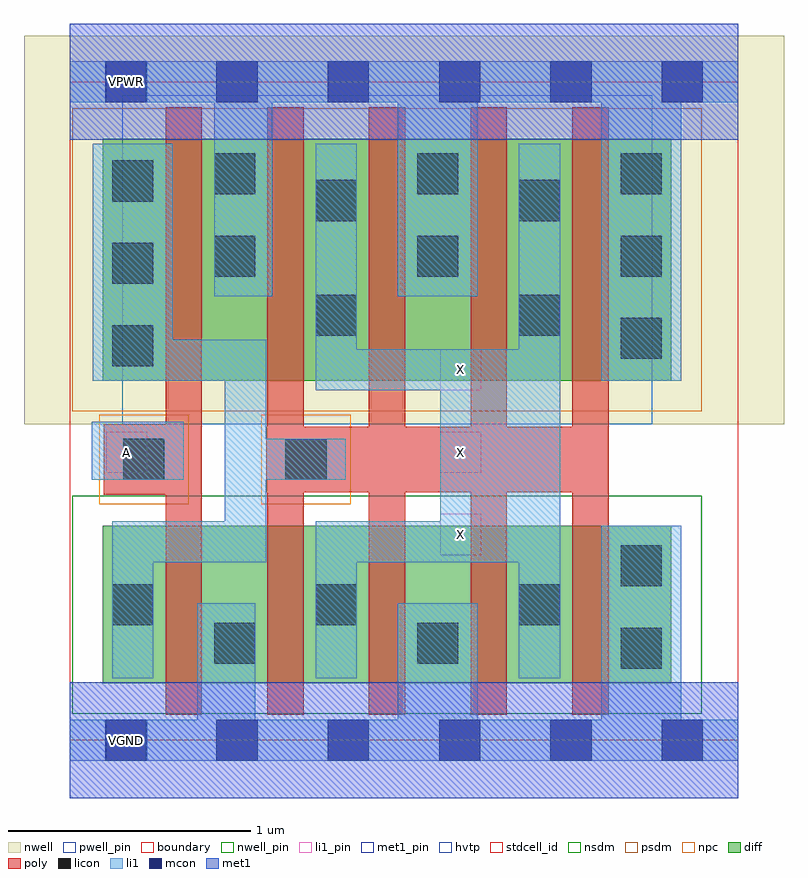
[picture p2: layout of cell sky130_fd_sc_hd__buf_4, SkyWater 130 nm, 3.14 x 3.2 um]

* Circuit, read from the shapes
.subckt sky130_fd_sc_hd__buf_4 A VGND VNB VPB VPWR X
XM1 VGND A n1 VNB sky130_fd_pr__nfet_01v8 w=0.65 l=0.15
XM2 X n1 VGND VNB sky130_fd_pr__nfet_01v8 w=0.65 l=0.15 m=4
XM3 VPWR A n1 VPB sky130_fd_pr__pfet_01v8_hvt w=1 l=0.15
XM4 X n1 VPWR VPB sky130_fd_pr__pfet_01v8_hvt w=1 l=0.15 m=4
.ends

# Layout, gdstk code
import gdstk
lib = gdstk.Library(unit=1e-6, precision=1e-09)
def R(c, l, rs):  # rectangles x0, y0, x1, y1
    for r in rs: c.add(gdstk.rectangle(r[:2], r[2:], *l))
def A(c, l, x, y, w, h, nx, ny, dx, dy):  # array of equal rectangles
    R(c, l, [(x+i*dx, y+j*dy, x+i*dx+w, y+j*dy+h) for i in range(nx) for j in range(ny)])
nwell_pin = (64, 16)
nwell = (64, 20)
diff = (65, 20)
poly = (66, 20)
licon = (66, 44)
li1_pin = (67, 16)
li1 = (67, 20)
mcon = (67, 44)
met1_pin = (68, 16)
met1 = (68, 20)
hvtp = (78, 44)
stdcell_id = (81, 4)
nsdm = (93, 44)
psdm = (94, 20)
npc = (95, 20)
pwell_pin = (122, 16)
boundary = (235, 4)

sky130_fd_sc_hd__buf_4 = lib.new_cell('sky130_fd_sc_hd__buf_4')
R(sky130_fd_sc_hd__buf_4, nwell_pin, [(0.15,2.635,0.32,2.805)])
R(sky130_fd_sc_hd__buf_4, nwell, [(-0.19,1.305,2.95,2.91)])
R(sky130_fd_sc_hd__buf_4, diff, [(0.135,0.235,2.485,0.885), (0.135,1.485,2.485,2.485)])
A(sky130_fd_sc_hd__buf_4, poly, 0.815, 0.105, 0.15, 0.92, 4, 1, 0.42, 0)
A(sky130_fd_sc_hd__buf_4, poly, 0.815, 1.295, 0.15, 1.32, 4, 1, 0.42, 0)
R(sky130_fd_sc_hd__buf_4, poly, [(0.395,0.105,0.545,1.015), (0.14,1.015,0.545,1.305), (0.81,1.025,2.225,1.295), (0.395,1.305,0.545,2.615)])
A(sky130_fd_sc_hd__buf_4, licon, 0.175, 0.475, 0.17, 0.17, 3, 1, 0.84, 0)
A(sky130_fd_sc_hd__buf_4, licon, 0.175, 1.545, 0.17, 0.17, 1, 3, 0, 0.34)
A(sky130_fd_sc_hd__buf_4, licon, 0.595, 1.915, 0.17, 0.17, 3, 2, 0.84, 0.34)
R(sky130_fd_sc_hd__buf_4, licon, [(2.275,0.295,2.445,0.465), (0.595,0.315,0.765,0.485), (1.435,0.315,1.605,0.485), (2.275,0.635,2.445,0.805), (0.22,1.075,0.39,1.245), (0.89,1.075,1.06,1.245), (2.275,1.575,2.445,1.745), (1.015,1.67,1.185,1.84), (1.855,1.67,2.025,1.84), (1.015,2.145,1.185,2.315), (1.855,2.145,2.025,2.315)])
A(sky130_fd_sc_hd__buf_4, li1_pin, 1.53, 0.765, 0.17, 0.17, 1, 3, 0, 0.34)
R(sky130_fd_sc_hd__buf_4, li1_pin, [(0.15,-0.085,0.32,0.085), (0.15,1.105,0.32,1.275), (0.15,2.635,0.32,2.805)])
A(sky130_fd_sc_hd__buf_4, li1, 0.175, 0.255, 0.17, 0.48, 3, 1, 0.84, 0)
R(sky130_fd_sc_hd__buf_4, li1, [(0,-0.085,2.76,0.085), (0.525,0.085,0.765,0.565), (1.355,0.085,1.685,0.565), (2.195,0.085,2.525,0.885), (0.175,0.735,0.81,0.905), (1.015,0.735,2.025,0.905), (0.64,0.905,0.81,1.075), (1.53,0.905,2.025,1.445), (0.09,1.075,0.47,1.315), (0.64,1.075,1.14,1.245), (0.64,1.245,0.81,1.485), (1.015,1.445,2.025,1.615), (0.095,1.485,0.81,1.655), (2.195,1.485,2.525,2.635), (1.015,1.615,1.185,2.465), (1.855,1.615,2.025,2.465), (0.095,1.655,0.425,2.465), (0.595,1.835,0.835,2.635), (1.355,1.835,1.685,2.635), (0,2.635,2.76,2.805)])
A(sky130_fd_sc_hd__buf_4, mcon, 0.145, -0.085, 0.17, 0.17, 6, 2, 0.46, 2.72)
R(sky130_fd_sc_hd__buf_4, met1_pin, [(0.15,-0.085,0.32,0.085), (0.15,2.635,0.32,2.805)])
R(sky130_fd_sc_hd__buf_4, met1, [(0,-0.24,2.76,0.24), (0,2.48,2.76,2.96)])
R(sky130_fd_sc_hd__buf_4, hvtp, [(0.215,1.305,2.405,2.665)])
R(sky130_fd_sc_hd__buf_4, stdcell_id, [(0,0,2.76,2.72)])
R(sky130_fd_sc_hd__buf_4, nsdm, [(0.01,0.11,2.61,1.01)])
R(sky130_fd_sc_hd__buf_4, psdm, [(0.01,1.36,2.61,2.61)])
R(sky130_fd_sc_hd__buf_4, npc, [(0.12,0.975,0.49,1.345), (0.79,0.975,1.16,1.345)])
R(sky130_fd_sc_hd__buf_4, pwell_pin, [(0.15,-0.085,0.32,0.085)])
R(sky130_fd_sc_hd__buf_4, boundary, [(0,0,2.76,2.72)])
sky130_fd_sc_hd__buf_4.add(gdstk.Label('VPWR', (0.235,2.72), layer=67, texttype=5))
sky130_fd_sc_hd__buf_4.add(gdstk.Label('VPWR', (0.235,2.72), layer=68, texttype=5))
sky130_fd_sc_hd__buf_4.add(gdstk.Label('VGND', (0.235,0), layer=67, texttype=5))
sky130_fd_sc_hd__buf_4.add(gdstk.Label('VGND', (0.235,0), layer=68, texttype=5))
sky130_fd_sc_hd__buf_4.add(gdstk.Label('X', (1.615,0.85), layer=67, texttype=5))
sky130_fd_sc_hd__buf_4.add(gdstk.Label('X', (1.615,1.53), layer=67, texttype=5))
sky130_fd_sc_hd__buf_4.add(gdstk.Label('X', (1.615,1.19), layer=67, texttype=5))
sky130_fd_sc_hd__buf_4.add(gdstk.Label('A', (0.235,1.19), layer=67, texttype=5))
sky130_fd_sc_hd__buf_4.add(gdstk.Label('VPB', (0.235,2.72), layer=64, texttype=5))
sky130_fd_sc_hd__buf_4.add(gdstk.Label('VNB', (0.235,0), layer=64, texttype=59))

lib.write_gds('sky130_fd_sc_hd__buf_4.gds')
